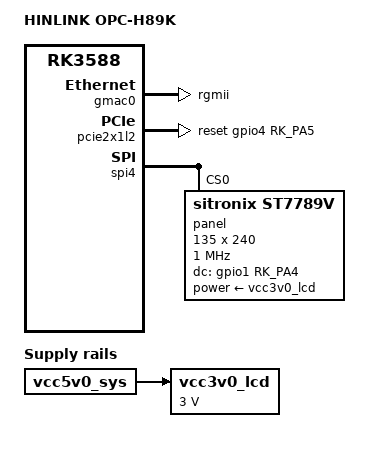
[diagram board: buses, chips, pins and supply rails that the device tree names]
// SPDX-License-Identifier: (GPL-2.0+ OR MIT)
/*
 * HinLink OPC-H89K
 *
 * ★★ 本文件已重构为「继承 H88K 公共部分（rk3588-hinlink.dtsi）+ 只写差异」
 *
 * 用户指出（2026-10-10）：H88K 的几个版本与 H89K 是**互相改出来的**，
 * 并不是完全独立。对比厂商 dtb 后完全印证 —— 两者的 PMIC、存储、串口、
 * PCIe、模组 IO、LED 引脚逐项一致，只有下面这些差异：
 *
 *   项                  H88K（rk3588-hinlink.dtsi）   H89K（本文件）
 *   ---------------------------------------------------------------------
 *   gmac0 phy-mode      rgmii-rxid                    rgmii
 *   gmac0 tx_delay      0x44                          0x42
 *   gmac0 rx_delay      0x00                          0x34
 *   eMMC                hs400 + enhanced-strobe       hs200
 *   eMMC max-frequency  200 MHz                       150 MHz
 *   TF 卡               sd-uhs-sdr50                  sd-uhs-sdr104
 *   第 3 个 2.5G 口     v2 无（combphy0_ps 给 SATA0）  pcie2x1l2 挂 RTL8125
 *   屏幕                v3 走 spidev 用户态            ST7789V 135x240 rot90 @spi4
 *   屏供电              —                             vcc3v0_lcd 3.0V
 *   红外                —                             GPIO0_D4
 *
 * 其余全部由 rk3588-hinlink.dtsi 提供：rk806 系统电源、rk8602/rk8603
 * CPU/NPU 大电流电源、hym8563 RTC、es8388 音频、eMMC/TF/uart2、gmac0/mdio0、
 * pcie2x1l0/l1、pcie30phy/pcie3x4、combphy、pwm14 风扇、saradc、tsadc、
 * 模组供电/复位、LED（4 个 GPIO 与 H89K 完全相同，只是标签用途不同）。
 *
 * ⚠️ 旧版本（2026-10-10 之前）本文件是**独立写的**，漏掉了 rk806 PMIC 与
 *    eMMC / TF 卡 / uart2 —— 那样的 DTB 根本起不来（内核找不到根文件系统、
 *    串口无输出、CPU 供电不受控）。本次改为继承后一并修好。
 *
 * ⚠️ 旧版本的另外三处错误也已修正：
 *    ① `snps,reset-gpio = <&pinctrl RK_PB3 ...>` —— 写成了 `&pinctrl`，
 *       应为 `&gpio4`。本文件不再重写该属性（dtsi 里是对的）。
 *    ② 风扇写成 `&pwm3` —— 厂商 dtb 的 /pwm@febf0020 对应 **pwm14**
 *       （RK3588: febf0000=pwm12 … febf0020=pwm14）。dtsi 里已是 pwm14。
 *    ③ 模组 IO 极性写成 ACTIVE_LOW —— 厂商 dtb 里两路都是 **HIGH 有效**
 *       （/vcc3v3-modem = GPIO4_A3 HIGH、/modem-enable = GPIO4_C6 HIGH，
 *        均 enable-active-high，且 modem-enable 有 2 秒启动延时）。
 *       dtsi 里本来就是对的。
 *
 * 硬件构成（厂商 immortalwrt v1.2.2 固件 dtb 实证，88036 B）
 * ----------------------------------------------------------
 *   网口 = 1×GMAC(gmac0 / fe1b0000, RGMII, RTL8211F) + 2×RTL8125 2.5G(PCIe)
 *          gmac1(fe1c0000) 在厂商 dtb 里 disabled
 *          两个 2.5G 分别挂 pcie2x1l1(fe180000) 与 pcie2x1l2(fe190000)
 *   厂商 02_network 映射：LAN "eth0 eth1" / WAN "eth2"（板载 RGMII 作 WAN）
 *   屏   = ST7789V 135×240 rot90 @spi4(fecb0000)，dc=GPIO1_A4，供电 3.0V
 *   风扇 = pwm14，5 档（由 dtsi 的 pwm-fan 节点提供）
 *   模组 = 供电 GPIO4_A3 + 复位 GPIO4_C6（均高有效，2 秒启动延时）
 *   SATA = 厂商 dtb 里 sata0/1/2 与 combphy 三路全 disabled，本机无 SATA 座
 *
 *   屏参数交叉验证（厂商 dtb ↔ 上游 unifreq PR#19）：
 *     compatible / 分辨率 / rotate / buswidth / spi-max-freq / dc-gpios
 *     六项完全吻合，故 PR#19 的 H89K 屏配置可信。
 *     ⚠️ 但 PR#19 的文件里 compatible 写的是 "hlink,h88k"（复制粘贴没改），
 *        本文件使用独立的 compatible "hinlink,opc-h89k"。
 *
 * 枚举顺序（immortalwrt 6.18 dtc）
 * --------------------------------
 *     GMAC 是 SoC 内部控制器，枚举固定 => eth0
 *     PCIe 网卡按 bus 扫描顺序          => eth1 / eth2
 *   ⚠️ 厂商 dtb 里 GMAC 节点 label = "eth2"，与 dtc 枚举的 eth0 不一致；
 *      本方案沿用厂商 02_network 映射（LAN eth0 eth1 / WAN eth2）。
 */

/dts-v1/;

#include <dt-bindings/gpio/gpio.h>
#include <dt-bindings/pinctrl/rockchip.h>

#include "rk3588-hinlink.dtsi"

/ {
	model = "HINLINK OPC-H89K";
	compatible = "hinlink,opc-h89k", "hinlink,h89k", "rockchip,rk3588";

	chosen {
		stdout-path = "serial2:1500000n8";
	};

	/* 屏供电 3.0V（H89K 特有；厂商 dtb /vcc3v0-lcd） */
	vcc3v0_lcd: vcc3v0-lcd {
		compatible = "regulator-fixed";
		regulator-name = "vcc3v0_lcd";
		regulator-always-on;
		regulator-boot-on;
		regulator-min-microvolt = <3000000>;
		regulator-max-microvolt = <3000000>;
		vin-supply = <&vcc5v0_sys>;
	};
};

/* ============================================================
 * 与 H88K 的差异（全部按厂商 dtb 覆盖）
 * ============================================================ */

/*
 * 板载千兆口（RTL8211F）
 *   厂商 dtb：phy-mode = "rgmii"、tx_delay = 0x42。
 *   H88K 那份是 rgmii-rxid + rx_delay 0x00 —— 两边都是 RTL8211F + RGMII，
 *   差别只在 delay 由谁补。这里保留厂商 H89K 的值（tx/rx delay 都显式给）。
 */
&gmac0 {
	phy-mode = "rgmii";
	tx_delay = <0x42>;
	rx_delay = <0x34>;
};

/* 板载 eMMC：厂商 dtb 是 hs200（H88K dtsi 写的是 hs400） */
&sdhci {
	max-frequency = <150000000>;
	mmc-hs200-1_8v;
	/delete-property/ mmc-hs400-1_8v;
	/delete-property/ mmc-hs400-enhanced-strobe;
};

/* TF 卡：厂商 dtb 是 sdr104（H88K dtsi 写的是 sdr50） */
&sdmmc {
	/delete-property/ sd-uhs-sdr50;
	sd-uhs-sdr104;
};

/*
 * 第 3 个网口：2.5G RTL8125 走 pcie2x1l2（fe190000）
 *   reset = GPIO4_A5 高有效（厂商 dtb 实证）
 *
 * H88K v2 上这个控制器不用 —— 它的 combphy0_ps 给了 SATA0；
 * H89K 没有 SATA 座，combphy0_ps 正好给 pcie2x1l2 用（dtsi 里已 okay）。
 */
&pcie2x1l2 {
	reset-gpios = <&gpio4 RK_PA5 GPIO_ACTIVE_HIGH>;
	max-link-speed = <2>;              /* Gen2 = 5 GT/s，厂商原值 */
	status = "okay";
};

/* ============================================================
 * 引脚（H89K 特有）
 *
 *   ★ gmac0 的 MDIO/RGMII 引脚**不要在这里重定义** ——
 *     内核 rk3588-extra-pinctrl.dtsi 已提供 gmac0_miim / gmac0_tx_bus2 /
 *     gmac0_rx_bus2 / gmac0_rgmii_clk / gmac0_rgmii_bus，且 funct 值正确（1）。
 *     重定义会 duplicate_label；若 funct 写成 RK_FUNC_GPIO(0) 则 MDIO 不通。
 *     （这是早期真实编译报错换来的教训）
 * ============================================================ */

&pinctrl {
	/*
	 * ★ LED 的 4 个 pinctrl（led_net_en / led_sata_en / led_user_en /
	 *   led_work_en）**不要在这里重定义** —— rk3588-hinlink.dtsi 的
	 *   /pinctrl/leds 下已经有完全相同的定义（引脚也一样，都是
	 *   GPIO2_C3 / GPIO2_C5 / GPIO3_B7 / GPIO0_A0），
	 *   重定义会报 duplicate_label：
	 *     Duplicate label 'led_work_en' on /pinctrl/led/led-work-en
	 *                                   and /pinctrl/leds/led_work_en
	 *   （这是真实 dtc 编译报错换来的教训）
	 *
	 *   厂商 H89K dtb 里的 pinctrl 名与 H88K 完全相同，
	 *   只是 LED 的用途标签不同（H89K: 4G/5G/sys/power），
	 *   所以直接复用 dtsi 的定义即可。
	 */
	ir {
		ir_int_pin: ir-int-pin {
			rockchip,pins = <0 RK_PD4 RK_FUNC_GPIO &pcfg_pull_up>;
		};
	};

	spi4 {
		lcd_dc_pin: lcd-dc-pin {
			rockchip,pins = <1 RK_PA4 RK_FUNC_GPIO &pcfg_pull_down>;
		};
	};
};

/* ============================================================
 * 屏：ST7789V 135×240 rot90 走 SPI4 m2
 * 厂商 dtb 原值 + 上游 unifreq PR#19 六项交叉验证
 * ============================================================ */

&spi4 {
	assigned-clocks = <&cru CLK_SPI4>;
	assigned-clock-rates = <200000000>;
	num-cs = <1>;
	pinctrl-names = "default";
	pinctrl-0 = <&spi4m2_pins>, <&spi4m2_cs0>;
	status = "okay";

	panel@0 {
		compatible = "sitronix,st7789v";
		reg = <0>;
		rotate = <90>;
		width = <135>;
		height = <240>;
		buswidth = <8>;
		spi-max-frequency = <1000000>;
		spi-cpol;
		spi-cpha;
		dc-gpios = <&gpio1 RK_PA4 GPIO_ACTIVE_HIGH>;
		pinctrl-names = "default";
		pinctrl-0 = <&lcd_dc_pin>;
		power-supply = <&vcc3v0_lcd>;

		/*
		 * 显示偏移（配合 patches/9999-fbtft-read-display-offset-from-dt.patch）
		 * 与 H29K 1.14" 同为 135x240 面板：
		 *   rotate 90/270  ->  x += 40, y += 52
		 *   rotate 0/180   ->  x += 52, y += 40
		 * ⚠️ 厂商 dtb 里没有这两个属性，属推断值 —— 需实机确认画面是否完整。
		 */
		x-offset = <40>;
		y-offset = <52>;
		x-offset-0 = <52>;
		y-offset-0 = <40>;
	};
};

/* ============================================================
 * ★ 不配置项（厂商 dtb 中同样未启用）
 *   SATA —— sata0/1/2 全 disabled，本机无 SATA 座
 *   红外 —— 厂商 dtb 只有 ir-int-pin 引脚定义，未见 gpio-ir-receiver 节点，
 *           故本 DTS 只保留引脚定义、不使能驱动
 * ============================================================ */
